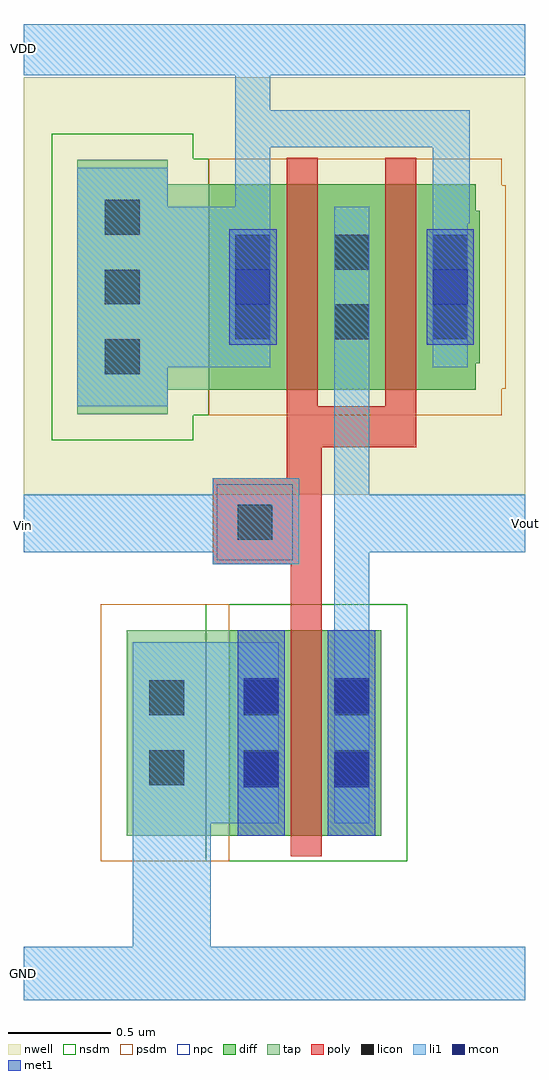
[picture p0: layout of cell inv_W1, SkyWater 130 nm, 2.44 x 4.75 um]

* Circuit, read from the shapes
.subckt inv_W1 GND VDD Vin Vout
XM1 Vout Vin GND GND sky130_fd_pr__nfet_01v8 w=1 l=0.15
XM2 Vout Vin VDD VDD sky130_fd_pr__pfet_01v8 w=1 l=0.15 m=2
.ends

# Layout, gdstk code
import gdstk
lib = gdstk.Library(unit=1e-6, precision=1e-09)
def R(c, l, rs):  # rectangles x0, y0, x1, y1
    for r in rs: c.add(gdstk.rectangle(r[:2], r[2:], *l))
def A(c, l, x, y, w, h, nx, ny, dx, dy):  # array of equal rectangles
    R(c, l, [(x+i*dx, y+j*dy, x+i*dx+w, y+j*dy+h) for i in range(nx) for j in range(ny)])
nwell = (64, 20)
diff = (65, 20)
tap = (65, 44)
poly = (66, 20)
licon = (66, 44)
li1 = (67, 20)
mcon = (67, 44)
met1 = (68, 20)
nsdm = (93, 44)
psdm = (94, 20)
npc = (95, 20)

pmos_2uf2 = lib.new_cell('pmos_2uf2')
R(pmos_2uf2, nwell, [(-1.585,-1.01,0.845,1.02)])
R(pmos_2uf2, diff, [(-0.695,-0.5,0.605,-0.37), (-0.695,-0.37,0.625,0.37), (-0.695,0.37,0.605,0.5)])
R(pmos_2uf2, tap, [(-1.335,-0.62,-0.895,-0.5), (-1.335,-0.5,-0.695,0.5), (-1.335,0.5,-0.895,0.62)])
R(pmos_2uf2, poly, [(-0.315,-0.65,-0.165,0.63), (0.165,-0.65,0.315,0.63)])
A(pmos_2uf2, licon, -1.2, -0.425, 0.17, 0.17, 1, 3, 0, 0.34)
A(pmos_2uf2, licon, -0.565, -0.255, 0.17, 0.17, 3, 2, 0.48, 0.34)
R(pmos_2uf2, li1, [(-1.335,-0.58,-0.895,-0.39), (-1.335,-0.39,-0.395,0.39), (-0.085,-0.39,0.085,0.39), (0.395,-0.39,0.565,0.39), (-1.335,0.39,-0.895,0.58)])
R(pmos_2uf2, mcon, [(-0.565,-0.085,-0.395,0.085), (0.395,-0.085,0.565,0.085)])
R(pmos_2uf2, met1, [(-0.595,-0.28,-0.365,0.28), (0.365,-0.28,0.595,0.28)])
R(pmos_2uf2, nsdm, [(-1.46,-0.745,-0.77,-0.625), (-1.46,-0.625,-0.695,0.625), (-1.46,0.625,-0.77,0.745)])
R(pmos_2uf2, psdm, [(-0.695,-0.625,0.73,-0.495), (-0.695,-0.495,0.75,0.495), (-0.695,0.495,0.73,0.625)])

sky130_fd_pr__nfet_01v8_ = lib.new_cell('sky130_fd_pr__nfet_01v8_7RYEVP')
R(sky130_fd_pr__nfet_01v8_, diff, [(-0.365,-0.345,0.365,0.655)])
R(sky130_fd_pr__nfet_01v8_, poly, [(-0.075,-0.445,0.075,0.785)])
R(sky130_fd_pr__nfet_01v8_, licon, [(-0.305,-0.1,-0.135,0.07), (0.135,-0.1,0.305,0.07), (-0.305,0.24,-0.135,0.41), (0.135,0.24,0.305,0.41)])
R(sky130_fd_pr__nfet_01v8_, li1, [(-0.305,-0.285,-0.135,0.595), (0.135,-0.285,0.305,0.595)])
R(sky130_fd_pr__nfet_01v8_, mcon, [(-0.305,-0.11,-0.135,0.06), (0.135,-0.11,0.305,0.06), (-0.305,0.25,-0.135,0.42), (0.135,0.25,0.305,0.42)])
R(sky130_fd_pr__nfet_01v8_, met1, [(-0.335,-0.345,-0.105,0.655), (0.105,-0.345,0.335,0.655)])
R(sky130_fd_pr__nfet_01v8_, nsdm, [(-0.49,-0.47,0.49,0.78)])

nmos_1u = lib.new_cell('nmos_1u')
R(nmos_1u, diff, [(-0.06,0.37,-0.05,1.37)])
R(nmos_1u, tap, [(-0.56,0.37,-0.06,1.37)])
R(nmos_1u, licon, [(-0.45,0.615,-0.28,0.785), (-0.45,0.955,-0.28,1.125)])
R(nmos_1u, li1, [(-0.53,0.43,0.01,1.31)])
R(nmos_1u, nsdm, [(-0.06,0.245,0.075,1.495)])
R(nmos_1u, psdm, [(-0.685,0.245,-0.06,1.495)])
nmos_1u.add(gdstk.Reference(sky130_fd_pr__nfet_01v8_, (0.315,0.715)))

inv_w1 = lib.new_cell('inv_W1')
R(inv_w1, nwell, [(-0.5,2.1,-0.49,4.13), (0.78,2.16,1.41,2.47), (0.53,3.79,1.67,3.97)])
R(inv_w1, poly, [(0.8,1.49,0.95,1.76), (0.42,1.76,0.95,2.18), (0.78,2.18,0.95,2.33), (0.78,2.33,1.41,2.53)])
R(inv_w1, licon, [(0.54,1.88,0.71,2.05)])
R(inv_w1, li1, [(-0.5,-0.36,1.94,-0.1), (0.03,-0.1,0.41,0.57), (1.01,1.3,1.18,1.82), (0.42,1.76,0.84,1.82), (-0.5,1.82,0.84,2.1), (1.01,1.82,1.94,2.1), (0.42,2.1,0.84,2.18), (1.01,2.1,1.18,2.78), (0.53,2.89,0.7,3.79), (1.49,3.42,1.67,3.79), (0.53,3.79,1.67,3.97), (0.53,3.97,0.7,4.14), (-0.5,4.14,1.94,4.39)])
R(inv_w1, npc, [(0.44,1.78,0.81,2.15)])
inv_w1.add(gdstk.Reference(pmos_2uf2, (1.095,3.11)))
inv_w1.add(gdstk.Reference(nmos_1u, (0.56,0.07)))
inv_w1.add(gdstk.Label('Vin', (-0.5,1.95), layer=67, texttype=5))
inv_w1.add(gdstk.Label('Vout', (1.94,1.96), layer=67, texttype=5))
inv_w1.add(gdstk.Label('VDD', (-0.5,4.27), layer=67, texttype=5))
inv_w1.add(gdstk.Label('GND', (-0.5,-0.23), layer=67, texttype=5))

lib.write_gds('inv_W1.gds')
